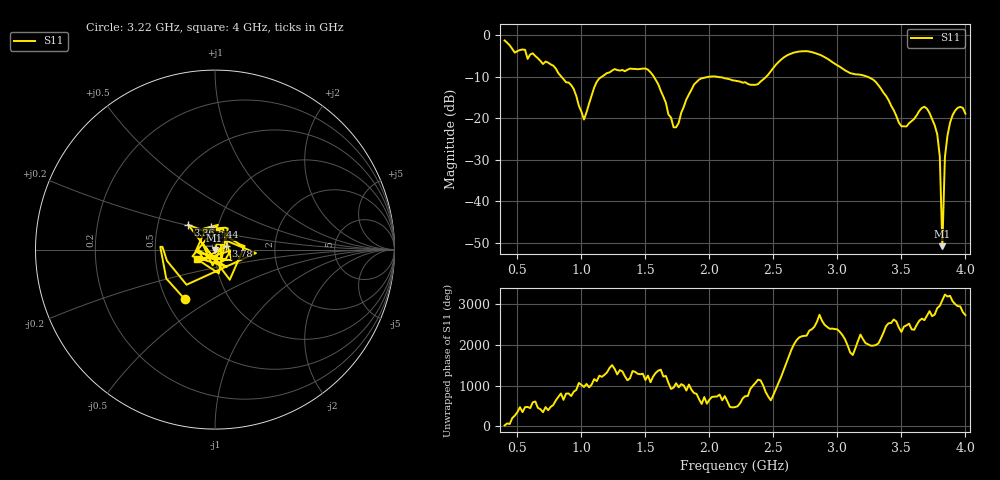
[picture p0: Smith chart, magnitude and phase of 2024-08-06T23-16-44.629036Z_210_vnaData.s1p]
!Created with skrf (http://scikit-rf.org).
# Hz S RI R 50.0
!freq ReS11 ImS11
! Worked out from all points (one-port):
!   181 points, 400 MHz to 4 GHz, reference 50 ohm
!   lowest |S11| = -50.8 dB at 3.82 GHz (marker M1), VSWR 1.01, Z = 49.8 - j0.147 ohm
!   |S11| at or under -10 dB: 1.567 GHz to 1.988 GHz (420.6 MHz wide, 23.7 % of centre); 2.067 GHz to 2.442 GHz (374.9 MHz wide, 16.6 % of centre); 3.239 GHz to end of sweep (the widest 3 of 4)
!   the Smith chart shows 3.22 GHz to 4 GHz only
!   S11 on the Smith chart (normalised r, x): 3.22 GHz: 0.62, -0.38; 3.36 GHz: 0.71, +0.21; 3.44 GHz: 0.93, +0.24; 3.78 GHz: 1.13, +0.04; 4 GHz: 0.81, -0.09
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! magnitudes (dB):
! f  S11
! 400 MHz  -1.2
! 860 MHz  -10.5
! 940 MHz  -12.9
! 1.02 GHz  -20.3
! 1.12 GHz  -11.2
! 1.3 GHz  -8.5
! 1.52 GHz  -8.2
! 1.6 GHz  -11.7
! 1.72 GHz  -22.1
! 1.76 GHz  -21.1
! 1.92 GHz  -10.6
! 2.2 GHz  -10.9
! 2.38 GHz  -11.7
! 2.66 GHz  -4.1
! 3.1 GHz  -9.1
! 3.22 GHz  -9.8
! 3.36 GHz  -13.8
! 3.44 GHz  -18.0
! 3.5 GHz  -21.9
! 3.56 GHz  -21.2
! 3.68 GHz  -17.2
! 3.78 GHz  -23.8
! 3.8 GHz  -29.1
! 3.82 GHz  -50.8
! 3.84 GHz  -29.3
! 3.86 GHz  -24.1
! 3.92 GHz  -18.1
! 4 GHz  -18.8
